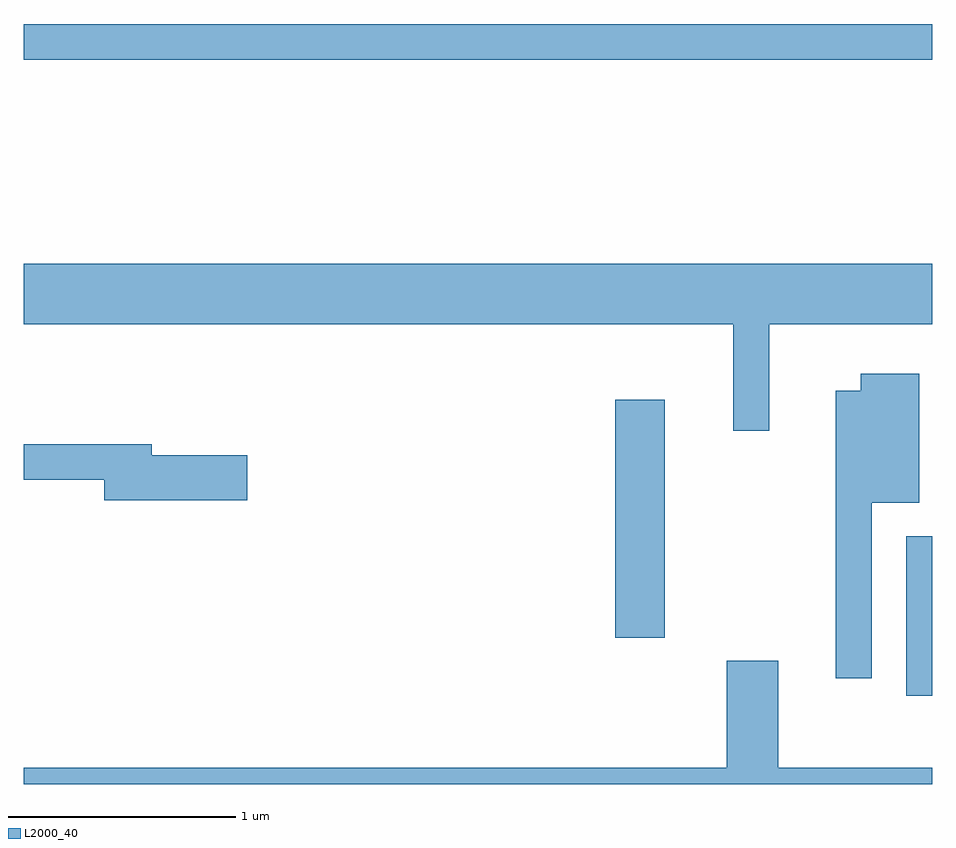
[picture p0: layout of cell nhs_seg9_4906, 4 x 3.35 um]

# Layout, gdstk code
import gdstk
lib = gdstk.Library(unit=1e-6, precision=1e-09)
def R(c, l, rs):  # rectangles x0, y0, x1, y1
    for r in rs: c.add(gdstk.rectangle(r[:2], r[2:], *l))
def P(c, l, *ps):  # polygons
    for p in ps: c.add(gdstk.Polygon(p, *l))
L2000_40 = (2000, 40)

nhs_seg9_4906 = lib.new_cell('nhs_seg9_4906')
R(nhs_seg9_4906, L2000_40, [(333.496,2016.821,333.611,2017.523), (332.216,2017.076,332.434,2018.124), (329.611,2019.621,333.611,2019.779)])
P(nhs_seg9_4906, L2000_40, [(332.894,2018.456),(333.611,2018.456),(333.611,2018.724),(329.611,2018.724),(329.611,2018.456),(332.736,2018.456),(332.736,2017.988),(332.894,2017.988)],
  [(333.344,2017.671),(333.554,2017.671),(333.554,2018.239),(333.296,2018.239),(333.296,2018.164),(333.186,2018.164),(333.186,2016.898),(333.344,2016.898)],
  [(330.594,2017.879),(330.174,2017.879),(330.174,2017.929),(329.611,2017.929),(329.611,2017.771),(329.966,2017.771),(329.966,2017.681),(330.594,2017.681)],
  [(333.611,2016.504),(332.934,2016.504),(332.934,2016.974),(332.706,2016.974),(332.706,2016.504),(329.611,2016.504),(329.611,2016.432),(333.611,2016.432)])

lib.write_gds('nhs_seg9_4906.gds')
